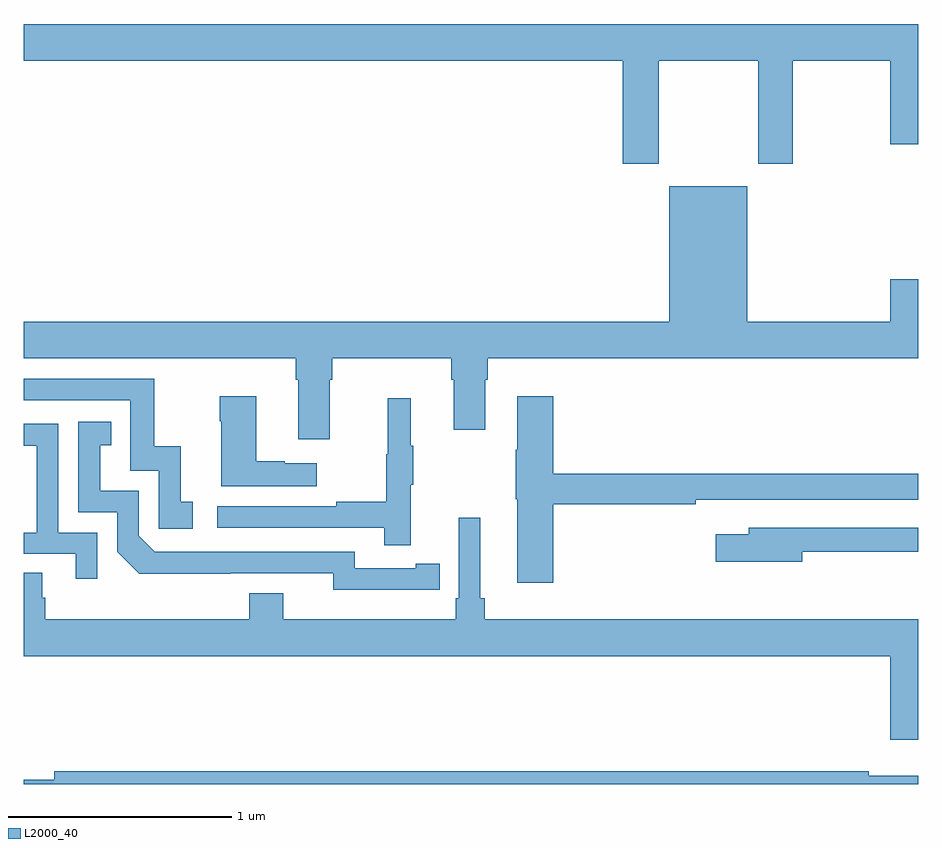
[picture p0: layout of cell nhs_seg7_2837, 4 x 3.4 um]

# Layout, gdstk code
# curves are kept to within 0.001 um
import gdstk
lib = gdstk.Library(unit=1e-6, precision=1e-09)
def P(c, l, *ps):  # polygons
    for p in ps: c.add(gdstk.Polygon(p, *l))
L2000_40 = (2000, 40)

nhs_seg7_2837 = lib.new_cell('nhs_seg7_2837')
P(nhs_seg7_2837, L2000_40, [(295.839,1047.236),(296.284,1047.236),(296.284,1046.775),(296.439,1046.775),(296.439,1047.236),(296.876,1047.236),(296.876,1046.862),(297,1046.862),(297,1047.4),(293,1047.4),(293,1047.236),(295.679,1047.236),(295.679,1046.775),(295.839,1046.775)],
  [(294.367,1045.808),(294.38,1045.808),(294.38,1045.904),(294.911,1045.904),(294.911,1045.808),(294.923,1045.808),(294.923,1045.584),(295.063,1045.584),(295.063,1045.808),(295.076,1045.808),(295.076,1045.904),(297,1045.904),(297,1046.257),(296.876,1046.257),(296.876,1046.068),(296.236,1046.068),(296.236,1046.674),(295.886,1046.674),(295.886,1046.068),(293,1046.068),(293,1045.904),(294.215,1045.904),(294.215,1045.808),(294.227,1045.808),(294.227,1045.542),(294.367,1045.542)],
  [(293.755,1045.263),(293.702,1045.263),(293.702,1045.51),(293.584,1045.51),(293.584,1045.812),(293,1045.812),(293,1045.716),(293.475,1045.716),(293.475,1045.401),(293.604,1045.401),(293.604,1045.143),(293.755,1045.143)],
  [(294.31,1045.435),(294.167,1045.435),(294.167,1045.445),(294.04,1045.445),(294.04,1045.735),(293.875,1045.735),(293.875,1045.622),(293.882,1045.622),(293.882,1045.331),(294.31,1045.331)],
  [(295.367,1045.252),(296.006,1045.252),(296.006,1045.272),(297,1045.272),(297,1045.388),(295.367,1045.388),(295.367,1045.735),(295.208,1045.735),(295.208,1045.496),(295.201,1045.496),(295.201,1045.275),(295.208,1045.275),(295.208,1044.9),(295.367,1044.9)],
  [(294.731,1045.339),(294.742,1045.339),(294.742,1045.513),(294.731,1045.513),(294.731,1045.726),(294.628,1045.726),(294.628,1045.476),(294.621,1045.476),(294.621,1045.262),(294.397,1045.262),(294.397,1045.242),(293.865,1045.242),(293.865,1045.146),(294.613,1045.146),(294.613,1045.068),(294.731,1045.068)],
  [(294.752,1044.87),(294.86,1044.87),(294.86,1044.986),(294.752,1044.986),(294.752,1044.966),(294.48,1044.966),(294.48,1045.038),(293.586,1045.038),(293.514,1045.11),(293.514,1045.311),(293.341,1045.311),(293.341,1045.515),(293.39,1045.515),(293.39,1045.621),(293.244,1045.621),(293.244,1045.215),(293.418,1045.215),(293.418,1045.038),(293.516,1044.941),(294.384,1044.942),(294.384,1044.869)],
  [(293.328,1045.125),(293.154,1045.125),(293.154,1045.611),(293,1045.611),(293,1045.514),(293.058,1045.514),(293.058,1045.125),(293,1045.125),(293,1045.029),(293.231,1045.029),(293.231,1044.918),(293.328,1044.918)],
  [(297,1044.736),(295.061,1044.736),(295.061,1044.832),(295.042,1044.832),(295.042,1045.192),(294.945,1045.192),(294.945,1044.832),(294.932,1044.832),(294.932,1044.736),(294.16,1044.736),(294.16,1044.853),(294.008,1044.853),(294.008,1044.736),(293.096,1044.736),(293.096,1044.834),(293.083,1044.834),(293.083,1044.944),(293,1044.944),(293,1044.572),(296.876,1044.572),(296.876,1044.198),(297,1044.198)],
  [(296.482,1045.038),(297,1045.038),(297,1045.146),(296.243,1045.146),(296.243,1045.117),(296.094,1045.117),(296.094,1044.995),(296.482,1044.995)],
  [(297,1044.037),(296.78,1044.037),(296.78,1044.056),(293.135,1044.056),(293.135,1044.02),(293,1044.02),(293,1044),(297,1044)])

lib.write_gds('nhs_seg7_2837.gds')
